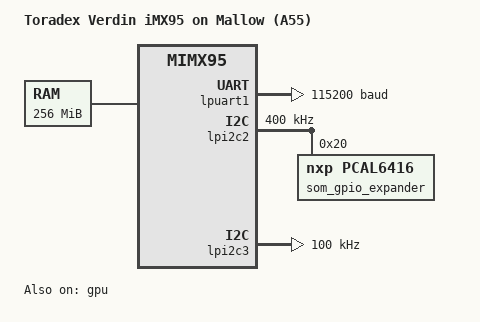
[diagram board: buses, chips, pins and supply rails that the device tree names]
/*
 * SPDX-License-Identifier: Apache-2.0
 * SPDX-FileCopyrightText: 2024-2025 NXP
 * SPDX-FileCopyrightText: 2026 Signal Slot, Inc.
 *
 * Toradex Verdin iMX95 on the Mallow carrier, Cortex-A55 cluster, one core.
 * Derived from Zephyr's boards/nxp/imx95_evk/imx95_evk_mimx9596_a55.dts at
 * the workspace pin (zephyr af17c0c8aa2a): the SoC, its SCMI channel to the
 * System Manager (MU2, the shared memory at 0x445b1000), the GIC and the
 * console UART are the EVK's; the EVK's Ethernet, CAN, I2C expanders and
 * WDOG4 are left out. What is the module's comes from mainline Linux
 * (torvalds/linux 65e4fd942f72): imx95-verdin.dtsi and
 * imx95-verdin-mallow.dtsi.
 *
 * - Console: LPUART1, the Verdin UART_3 (Linux's stdout-path "serial2" =
 *   &lpuart1, "used as the Linux console"; Mallow enables it as it is), at
 *   115200 baud as Linux's. Its pins are verdin_imx95-pinctrl.dtsi's.
 * - Memory: DRAM starts at 0x80000000; Toradex's U-Boot
 *   (include/configs/verdin-imx95.h, u-boot ece349ade297) keeps the first
 *   256 MiB for the firmware (M7, TF-A and OP-TEE at 0x8a000000, the vrings
 *   at 0x88000000) and probes 2, 4, 8 or 16 GiB. The image is linked and
 *   loaded at 0xd0000000, the address of the pin's imx95_evk A55 board and
 *   of its U-Boot "go" route, clear of the U-Boot environment's load
 *   addresses (0x90400000 to 0x9c800000 and the ramdisk above it) and of
 *   U-Boot itself, which relocates below 4 GiB. 256 MiB, as the
 *   NanoPC-T6's window: the GL image with the Mali OSAL's .noinit carve-out
 *   (zephyr/Kconfig, YAKOGL_MALI_CARVEOUT_BYTES) needs about 81 MiB. Below
 *   4 GiB on every module size.
 * - GPU: the Mali-G310 node as Linux's imx95.dtsi has it (gpu@4d900000).
 *   Nothing in Zephyr drives it: the Mali OSAL reads its register block
 *   from here (driver/zephyr/lib/board/verdin_imx95/verdin_imx95_mali.c).
 *   Its clocks and power domain are the System Manager's, through SCMI.
 * - I2C: LPI2C2, the module's CTRL_I2C at 400 kHz, with the NXP PCAL6416A
 *   I/O expander at 0x20 (Linux's som_gpio_expander; its line 3 is
 *   GPIO_10_DSI, the X4 display's enable), and LPI2C3, the Verdin
 *   I2C_2_DSI at 100 kHz (X4's bus), as imx95-verdin.dtsi has them. All
 *   three are zephyr,deferred-init: nothing touches them at boot. The
 *   display's board glue turns the two LPI2C clocks on over SCMI and then
 *   initialises them (driver/zephyr/lib/board/verdin_imx95/
 *   verdin_imx95_display.c); an image without it leaves them alone. The
 *   expander is not reset at its init (no-auto-reset): its other lines
 *   (USB enables, the Ethernet PHY's reset) keep what U-Boot left.
 *
 * Not run on a board yet.
 */

/dts-v1/;

#include <nxp/nxp_mimx95_19x19_a55.dtsi>
#include "verdin_imx95-pinctrl.dtsi"

/* Linux's dt-bindings ids that the pin's headers lack (torvalds/linux
 * 65e4fd942f72, arch/arm64/boot/dts/freescale/imx95-clock.h and
 * imx95-power.h): the GPU's clock gate (the "core" clock of the Mali node)
 * and its power domain. IMX95_CLK_GPUAPB ("coregroup") is in the pin's
 * imx95_clock.h with Linux's value. */
#define VERDIN_IMX95_CLK_GPU_CGC (IMX95_CCM_NUM_CLK_SRC + 123 + 10)
#define VERDIN_IMX95_PD_GPU 14

/ {
	model = "Toradex Verdin iMX95 on Mallow (A55)";
	compatible = "toradex,verdin-imx95", "fsl,mimx95";

	chosen {
		zephyr,console = &lpuart1;
		zephyr,shell-uart = &lpuart1;
		/* the sram node is in DDR */
		zephyr,sram = &dram;
	};

	/* As the pin's imx95_evk A55 board: the cpu nodes it does not run on
	 * are disabled (one core, no SMP). */
	cpus {
		cpu@0 {
			status = "disabled";
		};

		cpu@100 {
			status = "disabled";
		};

		cpu@200 {
			status = "disabled";
		};

		cpu@300 {
			status = "disabled";
		};

		cpu@400 {
			status = "disabled";
		};
	};

	dram: memory@d0000000 {
		reg = <0xd0000000 DT_SIZE_M(256)>;
	};

	/* Linux imx95.dtsi: "nxp,imx95-mali", "arm,mali-valhall-csf";
	 * interrupts "job", "mmu", "gpu" are GIC SPI 289, 290, 288. */
	gpu: gpu@4d900000 {
		compatible = "arm,mali-valhall-csf";
		reg = <0x4d900000 0x480000>;
		interrupts = <GIC_SPI 289 IRQ_TYPE_LEVEL IRQ_DEFAULT_PRIORITY>,
			     <GIC_SPI 290 IRQ_TYPE_LEVEL IRQ_DEFAULT_PRIORITY>,
			     <GIC_SPI 288 IRQ_TYPE_LEVEL IRQ_DEFAULT_PRIORITY>;
		interrupt-names = "job", "mmu", "gpu";
		clocks = <&scmi_clk VERDIN_IMX95_CLK_GPU_CGC>,
			 <&scmi_clk IMX95_CLK_GPUAPB>;
		clock-names = "core", "coregroup";
		power-domains = <&scmi_devpd VERDIN_IMX95_PD_GPU>;
		status = "okay";
	};
};

&lpuart1 {
	status = "okay";
	current-speed = <115200>;
	pinctrl-0 = <&lpuart1_default>;
	pinctrl-names = "default";
};

&lpi2c2 {
	clock-frequency = <I2C_BITRATE_FAST>;
	pinctrl-0 = <&lpi2c2_default>;
	pinctrl-names = "default";
	zephyr,deferred-init;
	status = "okay";

	som_gpio_expander: gpio@20 {
		compatible = "nxp,pcal6416";
		reg = <0x20>;
		gpio-controller;
		#gpio-cells = <2>;
		ngpios = <16>;
		no-auto-reset;
		zephyr,deferred-init;
		status = "okay";
	};
};

&lpi2c3 {
	clock-frequency = <I2C_BITRATE_STANDARD>;
	pinctrl-0 = <&lpi2c3_default>;
	pinctrl-names = "default";
	zephyr,deferred-init;
	status = "okay";
};
